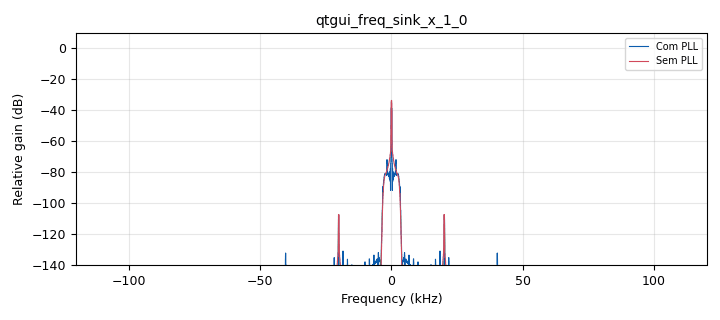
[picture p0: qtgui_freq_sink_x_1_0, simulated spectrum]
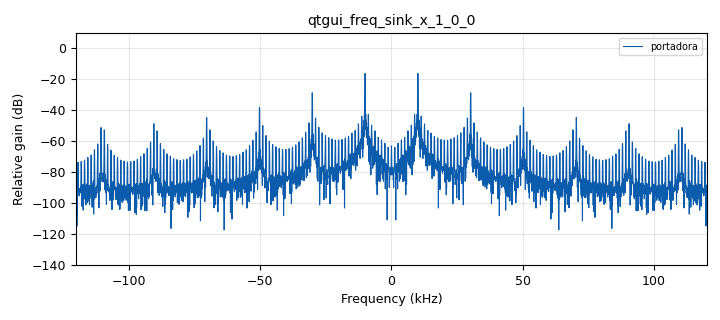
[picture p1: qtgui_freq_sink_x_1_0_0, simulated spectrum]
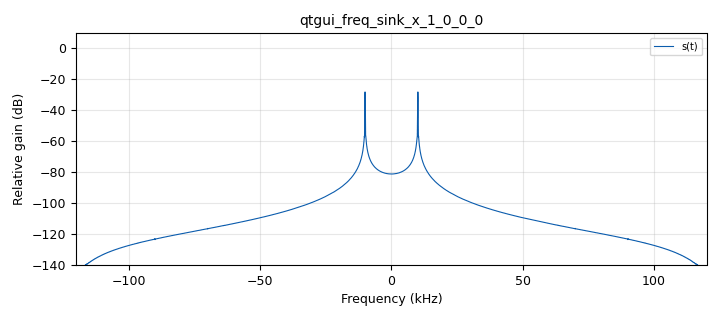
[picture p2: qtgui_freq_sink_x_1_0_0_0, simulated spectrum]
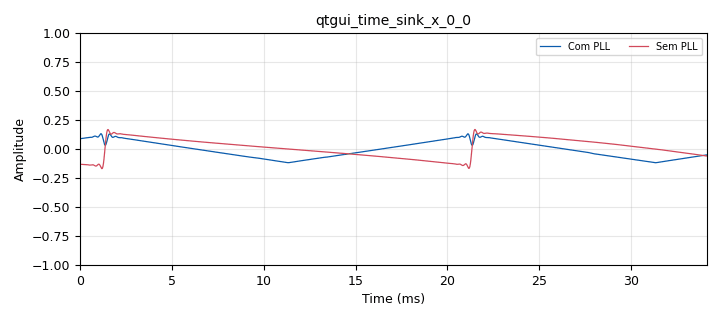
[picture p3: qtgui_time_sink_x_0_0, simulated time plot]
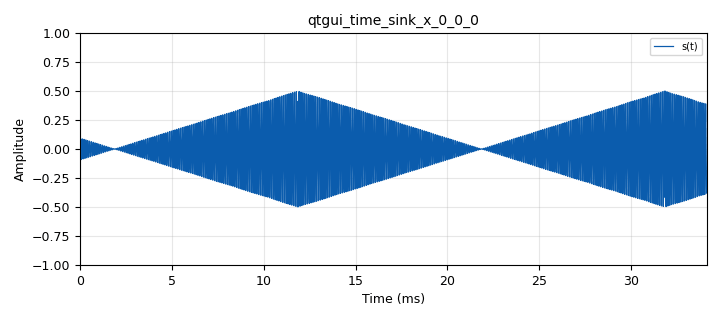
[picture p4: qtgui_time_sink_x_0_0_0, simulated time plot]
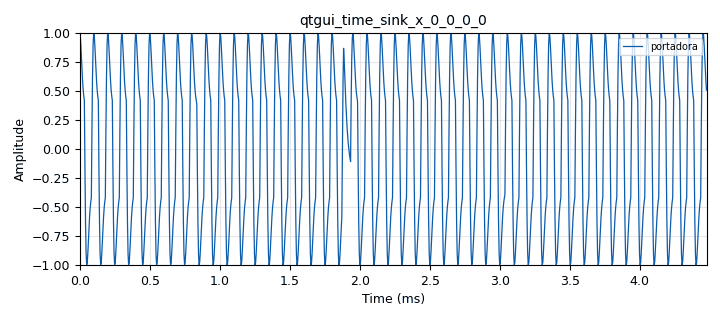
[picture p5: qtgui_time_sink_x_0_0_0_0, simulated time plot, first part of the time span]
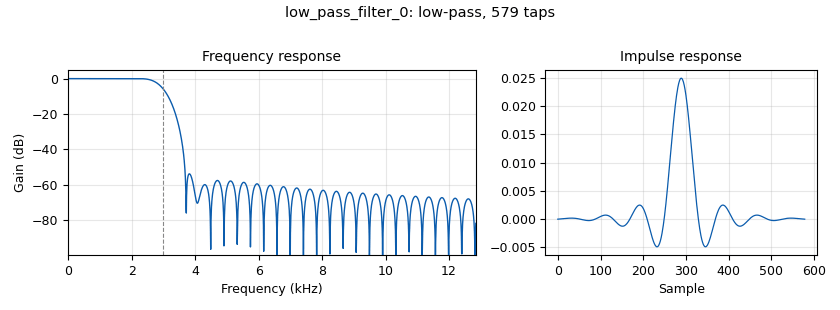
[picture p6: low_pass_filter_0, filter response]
<?xml version='1.0' encoding='utf-8'?>
<?grc format='1' created='3.7.9'?>
<flow_graph>
<block>
<key>options</key>
<param><key>id</key><value>top_block</value></param>
<param><key>category</key><value>Custom</value></param>
<param><key>generate_options</key><value>qt_gui</value></param>
</block>
<block>
<key>variable_qtgui_range</key>
<param><key>id</key><value>Ac</value></param>
<param><key>value</key><value>0</value></param>
<param><key>orient</key><value>Qt.Horizontal</value></param>
<param><key>start</key><value>0</value></param>
<param><key>step</key><value>0.1</value></param>
<param><key>stop</key><value>1</value></param>
</block>
<block>
<key>variable_qtgui_range</key>
<param><key>id</key><value>Am</value></param>
<param><key>value</key><value>1</value></param>
<param><key>orient</key><value>Qt.Horizontal</value></param>
<param><key>start</key><value>0</value></param>
<param><key>step</key><value>0.1</value></param>
<param><key>stop</key><value>1</value></param>
</block>
<block>
<key>variable_qtgui_range</key>
<param><key>id</key><value>An</value></param>
<param><key>value</key><value>0</value></param>
<param><key>orient</key><value>Qt.Horizontal</value></param>
<param><key>start</key><value>0</value></param>
<param><key>step</key><value>0.1</value></param>
<param><key>stop</key><value>1</value></param>
</block>
<block>
<key>variable</key>
<param><key>id</key><value>Bm</value></param>
<param><key>value</key><value>3000</value></param>
</block>
<block>
<key>variable</key>
<param><key>id</key><value>Df</value></param>
<param><key>value</key><value>1000</value></param>
</block>
<block>
<key>variable_qtgui_range</key>
<param><key>id</key><value>fx</value></param>
<param><key>value</key><value>50</value></param>
<param><key>orient</key><value>Qt.Horizontal</value></param>
<param><key>start</key><value>50</value></param>
<param><key>step</key><value>50</value></param>
<param><key>stop</key><value>200</value></param>
</block>
<block>
<key>variable</key>
<param><key>id</key><value>samp_rate</value></param>
<param><key>value</key><value>240000</value></param>
</block>
<block>
<key>qtgui_tab_widget</key>
<param><key>id</key><value>aba</value></param>
<param><key>label0</key><value>Sinais recuperados</value></param>
<param><key>label1</key><value>Espectros (sinais recuperados)</value></param>
<param><key>label2</key><value>Espectro portadoraPLL</value></param>
<param><key>label3</key><value>Espectro s(t)</value></param>
<param><key>num_tabs</key><value>4</value></param>
</block>
<block>
<key>analog_const_source_x</key>
<param><key>id</key><value>analog_const_source_x_0</value></param>
<param><key>const</key><value>0</value></param>
<param><key>type</key><value>float</value></param>
</block>
<block>
<key>analog_noise_source_x</key>
<param><key>id</key><value>analog_noise_source_x_0</value></param>
<param><key>amp</key><value>An</value></param>
<param><key>noise_type</key><value>analog.GR_GAUSSIAN</value></param>
<param><key>type</key><value>float</value></param>
<param><key>seed</key><value>0</value></param>
</block>
<block>
<key>analog_pll_refout_cc</key>
<param><key>id</key><value>analog_pll_refout_cc_0</value></param>
<param><key>w</key><value>0.0628318530717</value></param>
<param><key>max_freq</key><value>(10000+Df)*0.0000261799387799</value></param>
<param><key>min_freq</key><value>(10000-Df)*0.0000261799387799</value></param>
</block>
<block>
<key>analog_sig_source_x</key>
<param><key>id</key><value>analog_sig_source_x_0</value></param>
<param><key>amp</key><value>1</value></param>
<param><key>freq</key><value>10000</value></param>
<param><key>offset</key><value>0</value></param>
<param><key>type</key><value>complex</value></param>
<param><key>samp_rate</key><value>samp_rate</value></param>
<param><key>waveform</key><value>analog.GR_COS_WAVE</value></param>
</block>
<block>
<key>analog_sig_source_x</key>
<param><key>id</key><value>analog_sig_source_x_0_0</value></param>
<param><key>amp</key><value>1</value></param>
<param><key>freq</key><value>fx</value></param>
<param><key>offset</key><value>-0.5</value></param>
<param><key>type</key><value>float</value></param>
<param><key>samp_rate</key><value>samp_rate</value></param>
<param><key>waveform</key><value>analog.GR_SAW_WAVE</value></param>
</block>
<block>
<key>analog_sig_source_x</key>
<param><key>id</key><value>analog_sig_source_x_0_1_0</value></param>
<param><key>amp</key><value>1</value></param>
<param><key>freq</key><value>10000</value></param>
<param><key>offset</key><value>0</value></param>
<param><key>type</key><value>float</value></param>
<param><key>samp_rate</key><value>samp_rate</value></param>
<param><key>waveform</key><value>analog.GR_COS_WAVE</value></param>
</block>
<block>
<key>blocks_add_const_vxx</key>
<param><key>id</key><value>blocks_add_const_vxx_0</value></param>
<param><key>const</key><value>Ac</value></param>
<param><key>type</key><value>float</value></param>
</block>
<block>
<key>blocks_add_xx</key>
<param><key>id</key><value>blocks_add_xx_1</value></param>
<param><key>type</key><value>float</value></param>
</block>
<block>
<key>blocks_complex_to_real</key>
<param><key>id</key><value>blocks_complex_to_real_0</value></param>
</block>
<block>
<key>blocks_complex_to_real</key>
<param><key>id</key><value>blocks_complex_to_real_0_0</value></param>
</block>
<block>
<key>blocks_float_to_complex</key>
<param><key>id</key><value>blocks_float_to_complex_0</value></param>
</block>
<block>
<key>blocks_multiply_xx</key>
<param><key>id</key><value>blocks_multiply_xx_0</value></param>
<param><key>type</key><value>complex</value></param>
</block>
<block>
<key>blocks_multiply_xx</key>
<param><key>id</key><value>blocks_multiply_xx_0_0</value></param>
<param><key>type</key><value>float</value></param>
</block>
<block>
<key>blocks_multiply_xx</key>
<param><key>id</key><value>blocks_multiply_xx_0_0_0</value></param>
<param><key>type</key><value>float</value></param>
</block>
<block>
<key>blocks_multiply_xx</key>
<param><key>id</key><value>blocks_multiply_xx_0_0_0_0</value></param>
<param><key>type</key><value>float</value></param>
</block>
<block>
<key>blocks_vco_c</key>
<param><key>id</key><value>blocks_vco_c_0</value></param>
<param><key>amplitude</key><value>1</value></param>
<param><key>samp_rate</key><value>samp_rate</value></param>
<param><key>sensitivity</key><value>628.31</value></param>
</block>
<block>
<key>dc_blocker_xx</key>
<param><key>id</key><value>dc_blocker_xx_0</value></param>
<param><key>length</key><value>8192</value></param>
<param><key>long_form</key><value>True</value></param>
<param><key>type</key><value>ff</value></param>
</block>
<block>
<key>dc_blocker_xx</key>
<param><key>id</key><value>dc_blocker_xx_0_0</value></param>
<param><key>length</key><value>8192</value></param>
<param><key>long_form</key><value>True</value></param>
<param><key>type</key><value>ff</value></param>
</block>
<block>
<key>low_pass_filter</key>
<param><key>id</key><value>low_pass_filter_0</value></param>
<param><key>cutoff_freq</key><value>Bm</value></param>
<param><key>decim</key><value>1</value></param>
<param><key>type</key><value>fir_filter_fff</value></param>
<param><key>gain</key><value>1</value></param>
<param><key>samp_rate</key><value>samp_rate</value></param>
<param><key>width</key><value>1000</value></param>
<param><key>win</key><value>firdes.WIN_HAMMING</value></param>
</block>
<block>
<key>low_pass_filter</key>
<param><key>id</key><value>low_pass_filter_0_0</value></param>
<param><key>cutoff_freq</key><value>Bm</value></param>
<param><key>decim</key><value>1</value></param>
<param><key>type</key><value>fir_filter_fff</value></param>
<param><key>gain</key><value>1</value></param>
<param><key>samp_rate</key><value>samp_rate</value></param>
<param><key>width</key><value>1000</value></param>
<param><key>win</key><value>firdes.WIN_HAMMING</value></param>
</block>
<block>
<key>qtgui_freq_sink_x</key>
<param><key>id</key><value>qtgui_freq_sink_x_1_0</value></param>
<param><key>bw</key><value>samp_rate</value></param>
<param><key>fc</key><value>0</value></param>
<param><key>ctrlpanel</key><value>True</value></param>
<param><key>fftsize</key><value>4096</value></param>
<param><key>gui_hint</key><value>aba@0</value></param>
<param><key>grid</key><value>True</value></param>
<param><key>label1</key><value>Com PLL</value></param>
<param><key>label2</key><value>Sem PLL</value></param>
<param><key>nconnections</key><value>2</value></param>
<param><key>showports</key><value>True</value></param>
<param><key>type</key><value>float</value></param>
<param><key>wintype</key><value>firdes.WIN_BLACKMAN_hARRIS</value></param>
</block>
<block>
<key>qtgui_freq_sink_x</key>
<param><key>id</key><value>qtgui_freq_sink_x_1_0_0</value></param>
<param><key>bw</key><value>samp_rate</value></param>
<param><key>fc</key><value>0</value></param>
<param><key>ctrlpanel</key><value>True</value></param>
<param><key>fftsize</key><value>4096</value></param>
<param><key>gui_hint</key><value>aba@2</value></param>
<param><key>grid</key><value>True</value></param>
<param><key>color1</key><value>"green"</value></param>
<param><key>label1</key><value>portadora</value></param>
<param><key>showports</key><value>True</value></param>
<param><key>type</key><value>float</value></param>
<param><key>wintype</key><value>firdes.WIN_BLACKMAN_hARRIS</value></param>
</block>
<block>
<key>qtgui_freq_sink_x</key>
<param><key>id</key><value>qtgui_freq_sink_x_1_0_0_0</value></param>
<param><key>bw</key><value>samp_rate</value></param>
<param><key>fc</key><value>0</value></param>
<param><key>ctrlpanel</key><value>True</value></param>
<param><key>fftsize</key><value>4096</value></param>
<param><key>gui_hint</key><value>aba@3</value></param>
<param><key>grid</key><value>True</value></param>
<param><key>color1</key><value>"magenta"</value></param>
<param><key>label1</key><value>s(t)</value></param>
<param><key>showports</key><value>True</value></param>
<param><key>type</key><value>float</value></param>
<param><key>wintype</key><value>firdes.WIN_BLACKMAN_hARRIS</value></param>
</block>
<block>
<key>qtgui_time_sink_x</key>
<param><key>id</key><value>qtgui_time_sink_x_0_0</value></param>
<param><key>ctrlpanel</key><value>True</value></param>
<param><key>gui_hint</key><value>aba@0</value></param>
<param><key>grid</key><value>True</value></param>
<param><key>color1</key><value>"blue"</value></param>
<param><key>label1</key><value>Com PLL</value></param>
<param><key>color2</key><value>"red"</value></param>
<param><key>label2</key><value>Sem PLL</value></param>
<param><key>nconnections</key><value>2</value></param>
<param><key>size</key><value>8192</value></param>
<param><key>srate</key><value>samp_rate</value></param>
<param><key>type</key><value>float</value></param>
</block>
<block>
<key>qtgui_time_sink_x</key>
<param><key>id</key><value>qtgui_time_sink_x_0_0_0</value></param>
<param><key>ctrlpanel</key><value>True</value></param>
<param><key>gui_hint</key><value>aba@3</value></param>
<param><key>grid</key><value>True</value></param>
<param><key>color1</key><value>"blue"</value></param>
<param><key>label1</key><value>s(t)</value></param>
<param><key>size</key><value>8192</value></param>
<param><key>srate</key><value>samp_rate</value></param>
<param><key>type</key><value>float</value></param>
</block>
<block>
<key>qtgui_time_sink_x</key>
<param><key>id</key><value>qtgui_time_sink_x_0_0_0_0</value></param>
<param><key>ctrlpanel</key><value>True</value></param>
<param><key>gui_hint</key><value>aba@2</value></param>
<param><key>grid</key><value>True</value></param>
<param><key>color1</key><value>"blue"</value></param>
<param><key>label1</key><value>portadora</value></param>
<param><key>size</key><value>8192</value></param>
<param><key>srate</key><value>samp_rate</value></param>
<param><key>type</key><value>float</value></param>
</block>
<block>
<key>analog_sig_source_x</key>
<param><key>id</key><value>v</value></param>
<param><key>amp</key><value>Am</value></param>
<param><key>freq</key><value>0.5</value></param>
<param><key>offset</key><value>0</value></param>
<param><key>type</key><value>float</value></param>
<param><key>samp_rate</key><value>samp_rate</value></param>
<param><key>waveform</key><value>analog.GR_SIN_WAVE</value></param>
</block>
<connection><source_block_id>analog_const_source_x_0</source_block_id><sink_block_id>blocks_float_to_complex_0</sink_block_id><source_key>0</source_key><sink_key>1</sink_key></connection>
<connection><source_block_id>analog_noise_source_x_0</source_block_id><sink_block_id>blocks_add_xx_1</sink_block_id><source_key>0</source_key><sink_key>0</sink_key></connection>
<connection><source_block_id>analog_pll_refout_cc_0</source_block_id><sink_block_id>blocks_complex_to_real_0_0</sink_block_id><source_key>0</source_key><sink_key>0</sink_key></connection>
<connection><source_block_id>analog_sig_source_x_0</source_block_id><sink_block_id>blocks_multiply_xx_0</sink_block_id><source_key>0</source_key><sink_key>1</sink_key></connection>
<connection><source_block_id>analog_sig_source_x_0_0</source_block_id><sink_block_id>blocks_add_const_vxx_0</sink_block_id><source_key>0</source_key><sink_key>0</sink_key></connection>
<connection><source_block_id>analog_sig_source_x_0_1_0</source_block_id><sink_block_id>blocks_multiply_xx_0_0_0</sink_block_id><source_key>0</source_key><sink_key>0</sink_key></connection>
<connection><source_block_id>blocks_add_const_vxx_0</source_block_id><sink_block_id>blocks_multiply_xx_0_0</sink_block_id><source_key>0</source_key><sink_key>1</sink_key></connection>
<connection><source_block_id>blocks_add_xx_1</source_block_id><sink_block_id>blocks_float_to_complex_0</sink_block_id><source_key>0</source_key><sink_key>0</sink_key></connection>
<connection><source_block_id>blocks_add_xx_1</source_block_id><sink_block_id>blocks_multiply_xx_0_0_0</sink_block_id><source_key>0</source_key><sink_key>1</sink_key></connection>
<connection><source_block_id>blocks_add_xx_1</source_block_id><sink_block_id>blocks_multiply_xx_0_0_0_0</sink_block_id><source_key>0</source_key><sink_key>1</sink_key></connection>
<connection><source_block_id>blocks_add_xx_1</source_block_id><sink_block_id>qtgui_freq_sink_x_1_0_0_0</sink_block_id><source_key>0</source_key><sink_key>0</sink_key></connection>
<connection><source_block_id>blocks_add_xx_1</source_block_id><sink_block_id>qtgui_time_sink_x_0_0_0</sink_block_id><source_key>0</source_key><sink_key>0</sink_key></connection>
<connection><source_block_id>blocks_complex_to_real_0</source_block_id><sink_block_id>blocks_multiply_xx_0_0</sink_block_id><source_key>0</source_key><sink_key>0</sink_key></connection>
<connection><source_block_id>blocks_complex_to_real_0_0</source_block_id><sink_block_id>blocks_multiply_xx_0_0_0_0</sink_block_id><source_key>0</source_key><sink_key>0</sink_key></connection>
<connection><source_block_id>blocks_complex_to_real_0_0</source_block_id><sink_block_id>qtgui_freq_sink_x_1_0_0</sink_block_id><source_key>0</source_key><sink_key>0</sink_key></connection>
<connection><source_block_id>blocks_complex_to_real_0_0</source_block_id><sink_block_id>qtgui_time_sink_x_0_0_0_0</sink_block_id><source_key>0</source_key><sink_key>0</sink_key></connection>
<connection><source_block_id>blocks_float_to_complex_0</source_block_id><sink_block_id>analog_pll_refout_cc_0</sink_block_id><source_key>0</source_key><sink_key>0</sink_key></connection>
<connection><source_block_id>blocks_multiply_xx_0</source_block_id><sink_block_id>blocks_complex_to_real_0</sink_block_id><source_key>0</source_key><sink_key>0</sink_key></connection>
<connection><source_block_id>blocks_multiply_xx_0_0</source_block_id><sink_block_id>blocks_add_xx_1</sink_block_id><source_key>0</source_key><sink_key>1</sink_key></connection>
<connection><source_block_id>blocks_multiply_xx_0_0_0</source_block_id><sink_block_id>low_pass_filter_0</sink_block_id><source_key>0</source_key><sink_key>0</sink_key></connection>
<connection><source_block_id>blocks_multiply_xx_0_0_0_0</source_block_id><sink_block_id>low_pass_filter_0_0</sink_block_id><source_key>0</source_key><sink_key>0</sink_key></connection>
<connection><source_block_id>blocks_vco_c_0</source_block_id><sink_block_id>blocks_multiply_xx_0</sink_block_id><source_key>0</source_key><sink_key>0</sink_key></connection>
<connection><source_block_id>dc_blocker_xx_0</source_block_id><sink_block_id>qtgui_freq_sink_x_1_0</sink_block_id><source_key>0</source_key><sink_key>0</sink_key></connection>
<connection><source_block_id>dc_blocker_xx_0</source_block_id><sink_block_id>qtgui_time_sink_x_0_0</sink_block_id><source_key>0</source_key><sink_key>0</sink_key></connection>
<connection><source_block_id>dc_blocker_xx_0_0</source_block_id><sink_block_id>qtgui_freq_sink_x_1_0</sink_block_id><source_key>0</source_key><sink_key>1</sink_key></connection>
<connection><source_block_id>dc_blocker_xx_0_0</source_block_id><sink_block_id>qtgui_time_sink_x_0_0</sink_block_id><source_key>0</source_key><sink_key>1</sink_key></connection>
<connection><source_block_id>low_pass_filter_0</source_block_id><sink_block_id>dc_blocker_xx_0_0</sink_block_id><source_key>0</source_key><sink_key>0</sink_key></connection>
<connection><source_block_id>low_pass_filter_0_0</source_block_id><sink_block_id>dc_blocker_xx_0</sink_block_id><source_key>0</source_key><sink_key>0</sink_key></connection>
<connection><source_block_id>v</source_block_id><sink_block_id>blocks_vco_c_0</sink_block_id><source_key>0</source_key><sink_key>0</sink_key></connection>
</flow_graph>
